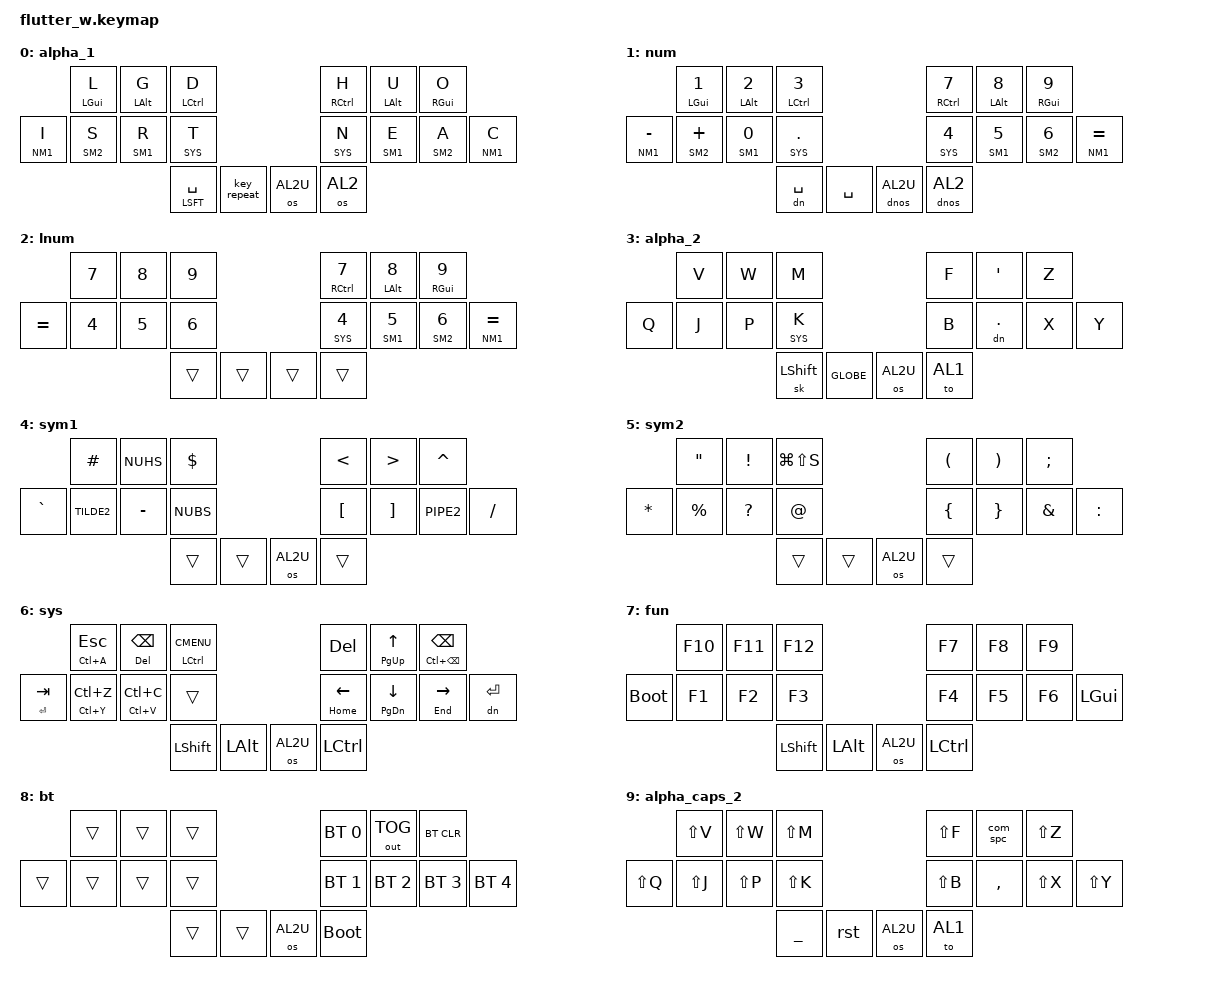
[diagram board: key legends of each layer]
#include <behaviors.dtsi>
#include <dt-bindings/zmk/keys.h>
#include <dt-bindings/zmk/bt.h>
#include <dt-bindings/zmk/outputs.h>

/* Layers */
#define AL1  0
#define NM1  1
#define LNUM 2
#define AL2  3
#define SM1  4	
#define SM2  5	
#define SYS  6
#define FUN  7	
#define BT   8
#define AL2U 9

&mt {
    tapping-term-ms = <200>;
    flavor = "tap-preferred";
 };
 
&lt {
    tapping-term-ms =<200>;
    flavor = "tap-preferred";
};

&sk {
    release-after-ms = <2000>;
    quick-release;
};

/ {
    combos {
        compatible = "zmk,combos";
        combo_bt { // sticky layer for bluetooth
            timeout-ms = <50>;
            key-positions = <6 7 8 9>;
            bindings = <&mo BT>;
        };
        compatible = "zmk,combos";
            combo_fun { // sticky layer for Function keys
            timeout-ms = <50>;
            key-positions = <10 11 12 13>;
            bindings = <&slm FUN>;
        };
        combo_caps { // caps word 
            timeout-ms = <50>;
            key-positions = <10 11 12>;
            bindings = <&caps_on>;
        };
        combo_num { // Num lock
            timeout-ms = <50>;
            key-positions = <7 8 9>;
            bindings = <&to NM1>;
        }; 
        combo_lhnum { // Left hand numbers
            timeout-ms = <50>;
            key-positions = <6 15>;
            bindings = <&sl LNUM>;
        }; 
        combo_ctrlsys { // Sends ctrl and sys for one handed commands
            timeout-ms = <50>;
            key-positions = <2 9>;
            bindings = <&ctrlsys>;
        }; 
        combo_mute { // Sends mute key 
            timeout-ms = <50>;
            key-positions = <0 1 7 8>;
            bindings = <&kp C_MUTE>;
        }; 
        combo_play { // Sends play/pause 
            timeout-ms = <50>;
            key-positions = <1 2 8 9>;
            bindings = <&kp C_PLAY_PAUSE>;
        }; 
        combo_volume_up { // Sends volume up
            timeout-ms = <50>;
            key-positions = <1 8>;
            bindings = <&kp C_VOLUME_UP>;
        }; 
        combo_volume_down { // Sends volume down
            timeout-ms = <50>;
            key-positions = <0 7>;
            bindings = <&kp C_VOLUME_DOWN>;
        }; 
    };
};

/ {
    macros {
        os: os {
            compatible = "zmk,behavior-macro-one-param";
            #binding-cells = <1>;
            wait-ms = <0>;
            tap-ms = <0>;
            bindings
                = <&macro_param_1to1>
                , <&macro_tap &sl MACRO_PLACEHOLDER>
                ;
        };
        dnos: dnos {
            compatible = "zmk,behavior-macro-one-param";
            #binding-cells = <1>;
            wait-ms = <0>;
            tap-ms = <0>;
            bindings
                = <&macro_tap &to AL1>
                , <&macro_param_1to1>
                , <&macro_tap &sl MACRO_PLACEHOLDER>
                ;
        };
        dn: dn {
            compatible = "zmk,behavior-macro-one-param";
            #binding-cells = <1>;
            wait-ms = <0>;
            tap-ms = <0>;
            bindings
                = <&macro_param_1to1>
                , <&macro_tap &kp MACRO_PLACEHOLDER &mo NM1>
                ;
        };
        rst: rst {
            compatible = "zmk,behavior-macro";
            #binding-cells = <0>; // Must be 0
            wait-ms = <0>;
            tap-ms = <0>;
            bindings = <&macro_tap &caps_off &mo NM1 &to AL1>;
        };
        caps_off: caps_off {
            compatible = "zmk,behavior-macro";
            #binding-cells = <0>; // Must be 0
            wait-ms = <0>;
            tap-ms = <0>;
            bindings = <&macro_tap &kp F19>;
        };
        caps_on: caps_on {
            compatible = "zmk,behavior-macro";
            #binding-cells = <0>; // Must be 0
            wait-ms = <0>;
            tap-ms = <0>;
            bindings = <&macro_tap &caps_off &mo NM1 &caps_word>;
        };
        num_on: num_on {
            compatible = "zmk,behavior-macro";
            #binding-cells = <0>; // Must be 0
            wait-ms = <0>;
            tap-ms = <0>;
            bindings = <&macro_tap &caps_off &to NM1>;
        };
        com_spc: com_spc {
            compatible = "zmk,behavior-macro";
            #binding-cells = <0>; // Must be 0
            wait-ms = <0>;
            tap-ms = <0>;
            bindings = <&macro_tap &kp COMMA &kp SPC>;
        };
        ctrlsys: ctrlsys {
            compatible = "zmk,behavior-macro";
            #binding-cells = <0>; // Must be 0
            wait-ms = <0>;
            tap-ms = <0>;
            bindings
                = <&macro_press &mo SYS &kp LCTRL>
                , <&macro_pause_for_release>
                , <&macro_release &mo SYS &kp LCTRL>
                ;
        };
    };
};

/ {
    behaviors {
        slm: sticky_layer_ignore_modifiers {
            compatible = "zmk,behavior-sticky-key";
            #binding-cells = <1>;
            bindings = <&mo>;
            release-after-ms = <5000>;
            ignore-modifiers;
        };
    };
};

/ {
    keymap {
        compatible = "zmk,keymap";

        alpha_1 {
            bindings = <
//              ┌─────────────┬─────────────┬─────────────┐                           ┌─────────────┬─────────────┬────────────┐	
                 &mt LGUI L    &mt LALT G    &mt LCTL D                                &mt RCTL H    &mt LALT U    &mt RGUI O      
//┌─────────────┼─────────────┼─────────────┼─────────────┤                           ├─────────────┼─────────────┼────────────┼────────────┐ 
   &lt NM1 I     &lt SM2 S     &lt SM1 R     &lt SYS T                                 &lt SYS N     &lt SM1 E     &lt SM2 A    &lt NM1 C
//└─────────────┴─────────────┴─────────────┼─────────────┼─────────────┬─────────────┼─────────────┼─────────────┴────────────┴────────────┘
                                             &mt LSFT SPC  &key_repeat   &os AL2U      &os AL2
//                                          └─────────────┴─────────────┴─────────────┴─────────────┘
            
            >;
        };
        num {
            bindings = <
//              ┌─────────────┬─────────────┬─────────────┐                           ┌─────────────┬─────────────┬────────────┐	
                 &mt LGUI N1   &mt LALT N2   &mt LCTL N3                               &mt RCTL N7   &mt LALT N8   &mt RGUI N9          
//┌─────────────┼─────────────┼─────────────┼─────────────┤                           ├─────────────┼─────────────┼────────────┼────────────┐ 
   &lt NM1 MINUS &lt SM2 PLUS  &lt SM1 N0    &lt SYS DOT                               &lt SYS N4    &lt SM1 N5    &lt SM2 N6   &lt NM1 EQUAL
//└─────────────┴─────────────┴─────────────┼─────────────┼─────────────┬─────────────┼─────────────┼─────────────┴────────────┴────────────┘
                                             &dn SPC       &kp SPC       &dnos AL2U    &dnos AL2   
//                                          └─────────────┴─────────────┴─────────────┴─────────────┘
            >;
        };
        lnum {
            bindings = <
//              ┌─────────────┬─────────────┬─────────────┐                           ┌─────────────┬─────────────┬────────────┐	
                 &kp N7        &kp N8        &kp N9                                    &mt RCTL N7   &mt LALT N8   &mt RGUI N9          
//┌─────────────┼─────────────┼─────────────┼─────────────┤                           ├─────────────┼─────────────┼────────────┼────────────┐ 
   &kp EQUAL     &kp N4        &kp N5        &kp N6                                    &lt SYS N4    &lt SM1 N5    &lt SM2 N6   &lt NM1 EQUAL
//└─────────────┴─────────────┴─────────────┼─────────────┼─────────────┬─────────────┼─────────────┼─────────────┴────────────┴────────────┘
                                             &trans        &trans        &trans        &trans           
//                                          └─────────────┴─────────────┴─────────────┴─────────────┘
            >;
        };
        alpha_2 {
            bindings = <
//              ┌─────────────┬─────────────┬─────────────┐                           ┌─────────────┬─────────────┬────────────┐	
                 &kp V         &kp W         &kp M                                     &kp F         &kp SQT       &kp Z           
//┌─────────────┼─────────────┼─────────────┼─────────────┤                           ├─────────────┼─────────────┼────────────┼────────────┐ 
   &kp  Q        &kp J         &kp P         &lt SYS K                                 &kp B         &dn DOT       &kp X        &kp Y    
//└─────────────┴─────────────┴─────────────┼─────────────┼─────────────┬─────────────┼─────────────┼─────────────┴────────────┴────────────┘
                                             &sk LSHIFT    &kp GLOBE     &os AL2U      &to AL1  
//                                          └─────────────┴─────────────┴─────────────┴─────────────┘
            >;
        };
        sym1 {
            bindings = <
//              ┌─────────────┬─────────────┬─────────────┐                           ┌─────────────┬─────────────┬────────────┐	
                 &kp POUND     &kp NUHS      &kp DLLR                                  &kp LT        &kp GT        &kp CARET
//┌─────────────┼─────────────┼─────────────┼─────────────┤                           ├─────────────┼─────────────┼────────────┼────────────┐ 
   &kp GRAVE     &kp TILDE2    &kp MINUS     &kp NUBS                                  &kp LBKT	     &kp RBKT      &kp PIPE2    &kp SLASH
//└─────────────┴─────────────┴─────────────┼─────────────┼─────────────┬─────────────┼─────────────┼─────────────┴────────────┴────────────┘
                                             &trans        &trans        &os AL2U      &trans   
//                                          └─────────────┴─────────────┴─────────────┴─────────────┘
            >;
        };
        sym2 {
            bindings = <
//              ┌─────────────┬─────────────┬─────────────┐                           ┌─────────────┬─────────────┬────────────┐	
                 &kp DQT       &kp EXCL      &kp LG(LS(S))                             &kp LPAR      &kp RPAR      &kp SEMI          
//┌─────────────┼─────────────┼─────────────┼─────────────┤                           ├─────────────┼─────────────┼────────────┼────────────┐ 
   &kp ASTERISK  &kp PERCENT   &kp QUESTION  &kp AT                                    &kp LBRC      &kp RBRC  	   &kp AMPS  	&kp COLON
//└─────────────┴─────────────┴─────────────┼─────────────┼─────────────┬─────────────┼─────────────┼─────────────┴────────────┴────────────┘
                                             &trans        &trans        &os AL2U      &trans   
//                                          └─────────────┴─────────────┴─────────────┴─────────────┘
            >;
        };
        sys {
            bindings = <
//              ┌─────────────┬─────────────┬─────────────┐                           ┌─────────────┬─────────────┬────────────┐	
                 &mt LC(A) ESC &mt DEL BSPC  &mt LCTL K_CMENU                          &kp DEL       &mt PG_UP UP  &mt LC(BSPC) BSPC          
//┌─────────────┼─────────────┼─────────────┼─────────────┤                           ├─────────────┼─────────────┼────────────┼────────────┐ 
&mt ENTER TAB &mt LC(Y) LC(Z) &mt LC(V) LC(C) &trans                                 &mt HOME LEFT &mt PG_DN DOWN &mt END RIGHT &dn ENTER   
//└─────────────┴─────────────┴─────────────┼─────────────┼─────────────┬─────────────┼─────────────┼─────────────┴────────────┴────────────┘
                                             &kp LSHFT     &kp LALT      &os AL2U      &kp LCTRL   
//                                          └─────────────┴─────────────┴─────────────┴─────────────┘
            >;
        };
        fun {
            bindings = <
//              ┌─────────────┬─────────────┬─────────────┐                           ┌─────────────┬─────────────┬────────────┐	
                 &kp F10       &kp F11       &kp F12                                   &kp F7        &kp F8        &kp F9          
//┌─────────────┼─────────────┼─────────────┼─────────────┤                           ├─────────────┼─────────────┼────────────┼────────────┐ 
   &bootloader   &kp F1        &kp F2        &kp F3                                    &kp F4        &kp F5        &kp F6       &kp LGUI
//└─────────────┴─────────────┴─────────────┼─────────────┼─────────────┬─────────────┼─────────────┼─────────────┴────────────┴────────────┘
                                             &kp LSHFT     &kp LALT      &os AL2U      &kp LCTRL   
//                                          └─────────────┴─────────────┴─────────────┴─────────────┘
            >;
        };
        bt {
            bindings = <
//              ┌─────────────┬─────────────┬─────────────┐                           ┌─────────────┬─────────────┬────────────┐	
                 &trans        &trans        &trans                                    &bt BT_SEL 0  &out OUT_TOG  &bt BT_CLR          
//┌─────────────┼─────────────┼─────────────┼─────────────┤                           ├─────────────┼─────────────┼────────────┼────────────┐ 
   &trans        &trans        &trans        &trans                                    &bt BT_SEL 1  &bt BT_SEL 2  &bt BT_SEL 3 &bt BT_SEL 4   
//└─────────────┴─────────────┴─────────────┼─────────────┼─────────────┬─────────────┼─────────────┼─────────────┴────────────┴────────────┘
                                             &trans        &trans        &os AL2U      &bootloader   
//                                          └─────────────┴─────────────┴─────────────┴─────────────┘
            >;
        };
        alpha_caps_2 {
            bindings = <
//              ┌─────────────┬─────────────┬─────────────┐                           ┌─────────────┬─────────────┬────────────┐	
                 &kp LS(V)     &kp LS(W)     &kp LS(M)                                 &kp LS(F)     &com_spc      &kp LS(Z)          
//┌─────────────┼─────────────┼─────────────┼─────────────┤                           ├─────────────┼─────────────┼────────────┼────────────┐ 
   &kp LS(Q)     &kp LS(J)     &kp LS(P)     &kp LS(K)                                 &kp LS(B)     &kp COMMA     &kp LS(X)     &kp LS(Y)      
//└─────────────┴─────────────┴─────────────┼─────────────┼─────────────┬─────────────┼─────────────┼─────────────┴────────────┴────────────┘
                                             &kp UNDER     &rst          &os AL2U      &to AL1   
//                                          └─────────────┴─────────────┴─────────────┴─────────────┘
            >;
        };
    };

};
